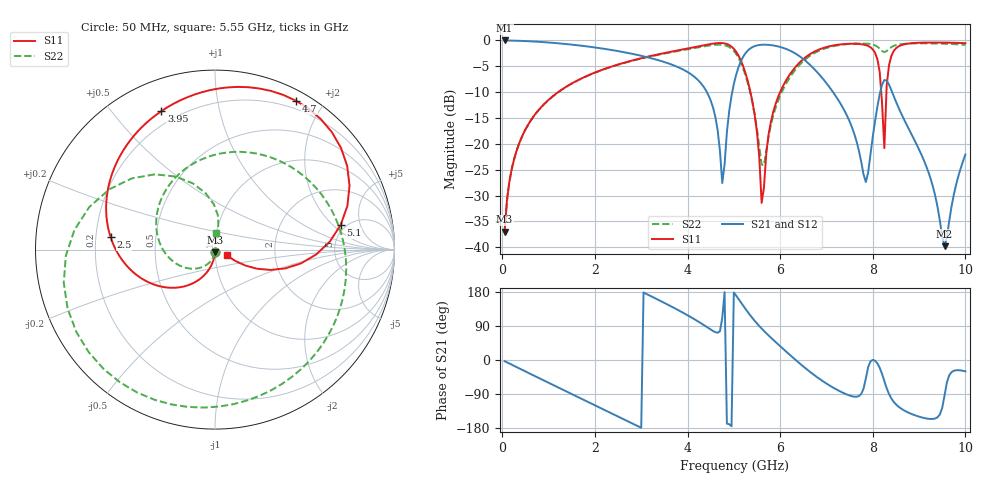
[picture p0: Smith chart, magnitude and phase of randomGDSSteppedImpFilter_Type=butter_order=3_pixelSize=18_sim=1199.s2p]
! freq	dB(S11)	phase(S11)	dB(S12)	phase(S12)
!  dB(S21)	phase(S21)	dB(S22)	phase(S22)
!S-par simulation data
#  GHz  S  DB  R 50
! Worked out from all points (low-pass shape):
!   200 points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, 50 MHz to 10 GHz, reference 50 ohm
!   highest |S21| = -0.01 dB at 50 MHz (marker M1); lowest = -39.8 dB at 9.55 GHz (marker M2)
!   |S21| within 3 dB of the highest: start of sweep to 3.017 GHz; 5.212 GHz to 6.411 GHz (1.199 GHz wide, 20.6 % of centre)
!   lowest |S11| = -37.0 dB at 50 MHz (marker M3), VSWR 1.03, Z = 49.9 - j1.41 ohm
!   |S11| at or under -10 dB: start of sweep to 1.206 GHz; 5.358 GHz to 5.999 GHz (640.6 MHz wide, 11.3 % of centre); 8.182 GHz to 8.295 GHz (112.4 MHz wide, 1.36 % of centre)
!   |S22| runs from -37.0 to -0.6 dB; largest |S21 - S12| = 0
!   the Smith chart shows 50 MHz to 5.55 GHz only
!   S11 on the Smith chart (normalised r, x): 50 MHz: 1.00, -0.03; 2.5 GHz: 0.26, +0.05; 3.95 GHz: 0.14, +0.68; 4.7 GHz: 0.11, +1.68; 5.1 GHz: 4.51, +2.53; 5.55 GHz: 1.14, -0.07
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0.05  -36.98 -91.7  -0.01 -3.1  -0.01 -3.1  -36.97 -93.7
0.5  -17.22 -110.3  -0.13 -30.2  -0.13 -30.2  -17.25 -131.2
1.75  -7.18 -158.2  -1.07 -104.7  -1.07 -104.7  -7.21 127.3
2.5  -4.65 173.3  -2.07 -149.1  -2.07 -149.1  -4.70 67.0
3.4  -2.63 136.6  -3.90 156.8  -3.90 156.8  -2.72 -4.4
3.95  -1.65 111.2  -5.85 121.6  -5.85 121.6  -1.79 -49.9
4.7  -0.50 61.5  -21.37 75.9  -21.37 75.9  -0.82 -133.0
4.75  -0.51 56.4  -27.57 111.0  -27.57 111.0  -0.85 -140.9
5.05  -2.19 18.3  -6.63 170.0  -6.63 170.0  -2.62 161.3
5.1  -2.93 11.1  -5.20 161.4  -5.20 161.4  -3.37 150.3
5.55  -22.72 -26.1  -0.88 89.6  -0.88 89.6  -20.61 86.1
5.6  -31.40 4.5  -0.84 83.1  -0.84 83.1  -23.99 104.9
5.8  -15.72 113.9  -0.90 59.0  -0.90 59.0  -16.33 157.0
6.1  -8.17 100.5  -1.55 25.4  -1.55 25.4  -8.83 117.7
6.7  -2.36 61.4  -5.20 -36.5  -5.20 -36.5  -2.65 36.7
7.85  -0.91 -14.7  -27.39 -49.0  -27.39 -49.0  -0.61 -57.6
8.15  -6.12 -61.0  -10.39 -20.5  -10.39 -20.5  -1.60 -75.7
8.25  -20.83 34.5  -7.65 -55.8  -7.65 -55.8  -2.26 -74.4
8.35  -4.84 34.5  -8.53 -89.6  -8.53 -89.6  -1.64 -73.4
8.65  -0.82 -6.3  -14.82 -131.1  -14.82 -131.1  -0.68 -87.8
9.55  -0.41 -48.9  -39.78 -93.6  -39.78 -93.6  -0.64 -126.4
10  -0.54 -65.0  -22.06 -30.0  -22.06 -30.0  -0.88 -147.6
